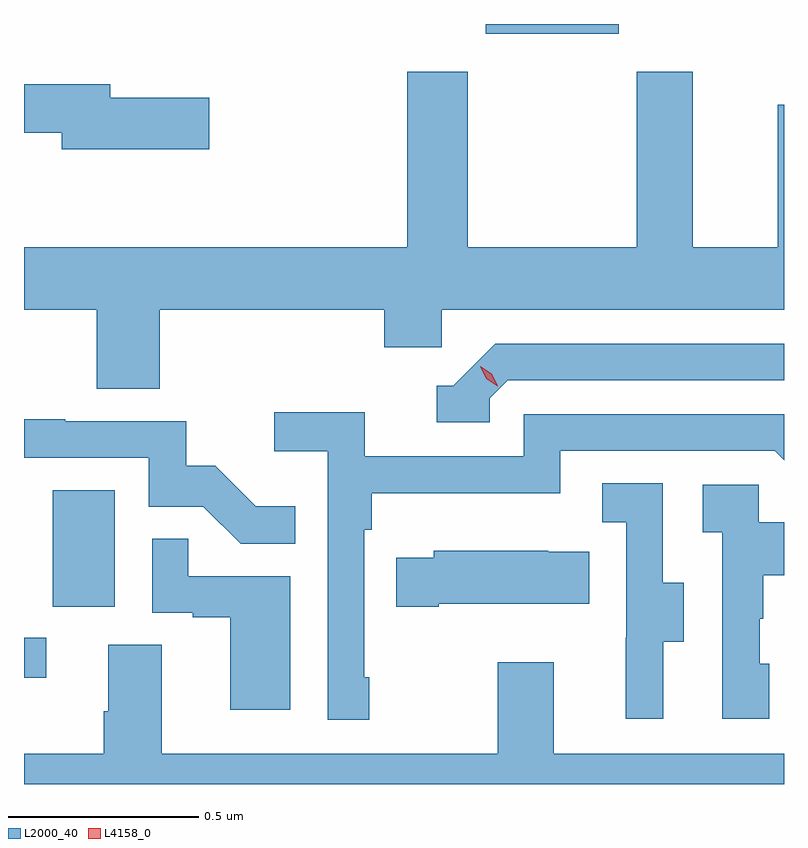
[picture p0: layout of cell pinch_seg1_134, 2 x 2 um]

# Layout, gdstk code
import gdstk
lib = gdstk.Library(unit=1e-6, precision=1e-09)
def R(c, l, rs):  # rectangles x0, y0, x1, y1
    for r in rs: c.add(gdstk.rectangle(r[:2], r[2:], *l))
def P(c, l, *ps):  # polygons
    for p in ps: c.add(gdstk.Polygon(p, *l))
L2000_40 = (2000, 40)
L4158_0 = (4158, 0)

pinch_seg1_134 = lib.new_cell('pinch_seg1_134')
R(pinch_seg1_134, L2000_40, [(1074.113,542.772,1074.172,542.877), (1074.188,542.958,1074.352,543.265), (1075.328,544.466,1075.678,544.492)])
P(pinch_seg1_134, L2000_40, [(1074.47,543.74),(1075.061,543.74),(1075.061,543.642),(1075.212,543.642),(1075.212,543.74),(1076.113,543.74),(1076.113,544.279),(1076.096,544.279),(1076.096,543.904),(1075.873,543.904),(1075.873,544.366),(1075.726,544.366),(1075.726,543.904),(1075.281,543.904),(1075.281,544.366),(1075.121,544.366),(1075.121,543.904),(1074.113,543.904),(1074.113,543.74),(1074.305,543.74),(1074.305,543.532),(1074.47,543.532)],
  [(1074.601,544.298),(1074.34,544.298),(1074.34,544.334),(1074.113,544.334),(1074.113,544.206),(1074.212,544.206),(1074.212,544.163),(1074.601,544.163)],
  [(1075.338,543.507),(1075.386,543.555),(1076.113,543.555),(1076.113,543.651),(1075.353,543.651),(1075.242,543.54),(1075.199,543.54),(1075.199,543.444),(1075.338,543.444)],
  [(1075.021,542.773),(1075.008,542.773),(1075.008,543.161),(1075.028,543.161),(1075.028,543.257),(1075.524,543.257),(1075.524,543.369),(1076.088,543.369),(1076.113,543.344),(1076.113,543.465),(1075.428,543.465),(1075.428,543.354),(1075.01,543.354),(1075.01,543.47),(1074.771,543.47),(1074.771,543.368),(1074.912,543.368),(1074.912,542.661),(1075.021,542.661)],
  [(1074.827,543.223),(1074.723,543.223),(1074.616,543.33),(1074.54,543.33),(1074.54,543.447),(1074.221,543.447),(1074.221,543.452),(1074.113,543.452),(1074.113,543.351),(1074.441,543.351),(1074.441,543.222),(1074.585,543.222),(1074.683,543.124),(1074.827,543.124)],
  [(1075.795,542.866),(1075.849,542.866),(1075.849,543.021),(1075.794,543.021),(1075.794,543.284),(1075.635,543.284),(1075.635,543.181),(1075.698,543.181),(1075.698,542.877),(1075.697,542.877),(1075.697,542.664),(1075.795,542.664)],
  [(1076.074,542.808),(1076.049,542.808),(1076.049,542.927),(1076.059,542.927),(1076.059,543.041),(1076.113,543.041),(1076.113,543.181),(1076.046,543.181),(1076.046,543.279),(1075.899,543.279),(1075.899,543.155),(1075.95,543.155),(1075.95,542.664),(1076.074,542.664)],
  [(1074.814,543.039),(1074.545,543.039),(1074.545,543.137),(1074.45,543.137),(1074.45,542.943),(1074.557,542.943),(1074.557,542.931),(1074.656,542.931),(1074.656,542.688),(1074.814,542.688)],
  [(1075.204,542.966),(1075.601,542.966),(1075.601,543.103),(1075.493,543.103),(1075.493,543.106),(1075.191,543.106),(1075.191,543.088),(1075.093,543.088),(1075.093,542.959),(1075.204,542.959)],
  [(1076.113,542.572),(1075.507,542.572),(1075.507,542.812),(1075.36,542.812),(1075.36,542.572),(1074.475,542.572),(1074.475,542.858),(1074.335,542.858),(1074.335,542.684),(1074.323,542.684),(1074.323,542.572),(1074.113,542.572),(1074.113,542.492),(1076.113,542.492)])
P(pinch_seg1_134, L4158_0, [(1075.36,543.539),(1075.329,543.558),(1075.313,543.591),(1075.313,543.591),(1075.313,543.591),(1075.344,543.572),(1075.36,543.54),(1075.36,543.539)])

lib.write_gds('pinch_seg1_134.gds')
